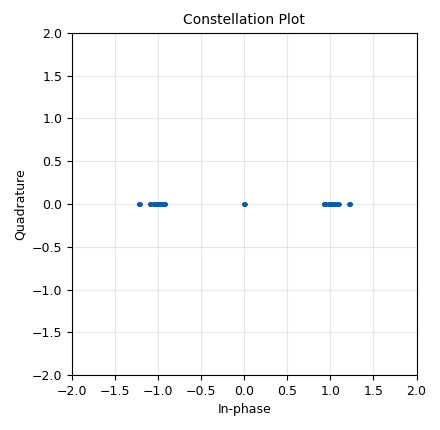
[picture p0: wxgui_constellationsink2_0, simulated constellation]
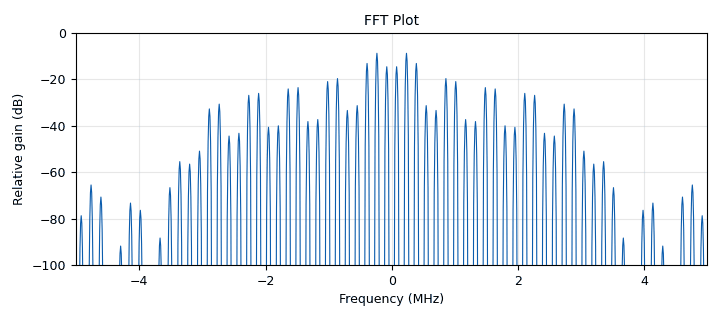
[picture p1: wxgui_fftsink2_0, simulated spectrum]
<?xml version='1.0' encoding='utf-8'?>
<?grc format='1' created='3.7.10'?>
<flow_graph>
<block>
<key>options</key>
<param><key>id</key><value>top_block</value></param>
<param><key>generate_options</key><value>wx_gui</value></param>
</block>
<block>
<key>variable</key>
<param><key>id</key><value>samp_rate</value></param>
<param><key>value</key><value>10000000</value></param>
</block>
<block>
<key>blocks_complex_to_interleaved_char</key>
<param><key>id</key><value>blocks_complex_to_interleaved_char_0</value></param>
<param><key>vector_output</key><value>False</value></param>
</block>
<block>
<key>blocks_pack_k_bits_bb</key>
<param><key>id</key><value>blocks_pack_k_bits_bb_0</value></param>
<param><key>k</key><value>2</value></param>
</block>
<block>
<key>blocks_throttle</key>
<param><key>id</key><value>blocks_throttle_0</value></param>
<param><key>samples_per_second</key><value>samp_rate</value></param>
<param><key>type</key><value>complex</value></param>
</block>
<block>
<key>blocks_vector_source_x</key>
<param><key>id</key><value>blocks_vector_source_x_0</value></param>
<param><key>type</key><value>complex</value></param>
<param><key>repeat</key><value>True</value></param>
<param><key>vector</key><value>(0, 1, 1,1)</value></param>
</block>
<block>
<key>digital_dxpsk_mod</key>
<param><key>id</key><value>digital_dxpsk_mod_0</value></param>
<param><key>excess_bw</key><value>0.35</value></param>
<param><key>mod_code</key><value>"gray"</value></param>
<param><key>log</key><value>False</value></param>
<param><key>samples_per_symbol</key><value>2</value></param>
<param><key>type</key><value>dbpsk</value></param>
<param><key>verbose</key><value>False</value></param>
</block>
<block>
<key>wxgui_constellationsink2</key>
<param><key>id</key><value>wxgui_constellationsink2_0</value></param>
<param><key>const_size</key><value>2048</value></param>
<param><key>frame_rate</key><value>5</value></param>
<param><key>gain_mu</key><value>0.005</value></param>
<param><key>loop_bw</key><value>6.28/100.0</value></param>
<param><key>M</key><value>4</value></param>
<param><key>fmax</key><value>0.06</value></param>
<param><key>mu</key><value>0.5</value></param>
<param><key>omega_limit</key><value>0.005</value></param>
<param><key>samp_rate</key><value>samp_rate</value></param>
<param><key>symbol_rate</key><value>samp_rate/4.</value></param>
<param><key>theta</key><value>0</value></param>
<param><key>title</key><value>Constellation Plot</value></param>
</block>
<block>
<key>wxgui_fftsink2</key>
<param><key>id</key><value>wxgui_fftsink2_0</value></param>
<param><key>avg_alpha</key><value>0</value></param>
<param><key>average</key><value>False</value></param>
<param><key>baseband_freq</key><value>0</value></param>
<param><key>fft_size</key><value>1024</value></param>
<param><key>freqvar</key><value>None</value></param>
<param><key>peak_hold</key><value>False</value></param>
<param><key>ref_level</key><value>0</value></param>
<param><key>ref_scale</key><value>2.0</value></param>
<param><key>fft_rate</key><value>15</value></param>
<param><key>samp_rate</key><value>samp_rate</value></param>
<param><key>title</key><value>FFT Plot</value></param>
<param><key>type</key><value>complex</value></param>
<param><key>win</key><value>None</value></param>
<param><key>y_divs</key><value>10</value></param>
<param><key>y_per_div</key><value>10</value></param>
</block>
<connection><source_block_id>blocks_complex_to_interleaved_char_0</source_block_id><sink_block_id>blocks_pack_k_bits_bb_0</sink_block_id><source_key>0</source_key><sink_key>0</sink_key></connection>
<connection><source_block_id>blocks_pack_k_bits_bb_0</source_block_id><sink_block_id>digital_dxpsk_mod_0</sink_block_id><source_key>0</source_key><sink_key>0</sink_key></connection>
<connection><source_block_id>blocks_throttle_0</source_block_id><sink_block_id>blocks_complex_to_interleaved_char_0</sink_block_id><source_key>0</source_key><sink_key>0</sink_key></connection>
<connection><source_block_id>blocks_vector_source_x_0</source_block_id><sink_block_id>blocks_throttle_0</sink_block_id><source_key>0</source_key><sink_key>0</sink_key></connection>
<connection><source_block_id>digital_dxpsk_mod_0</source_block_id><sink_block_id>wxgui_constellationsink2_0</sink_block_id><source_key>0</source_key><sink_key>0</sink_key></connection>
<connection><source_block_id>digital_dxpsk_mod_0</source_block_id><sink_block_id>wxgui_fftsink2_0</sink_block_id><source_key>0</source_key><sink_key>0</sink_key></connection>
</flow_graph>
